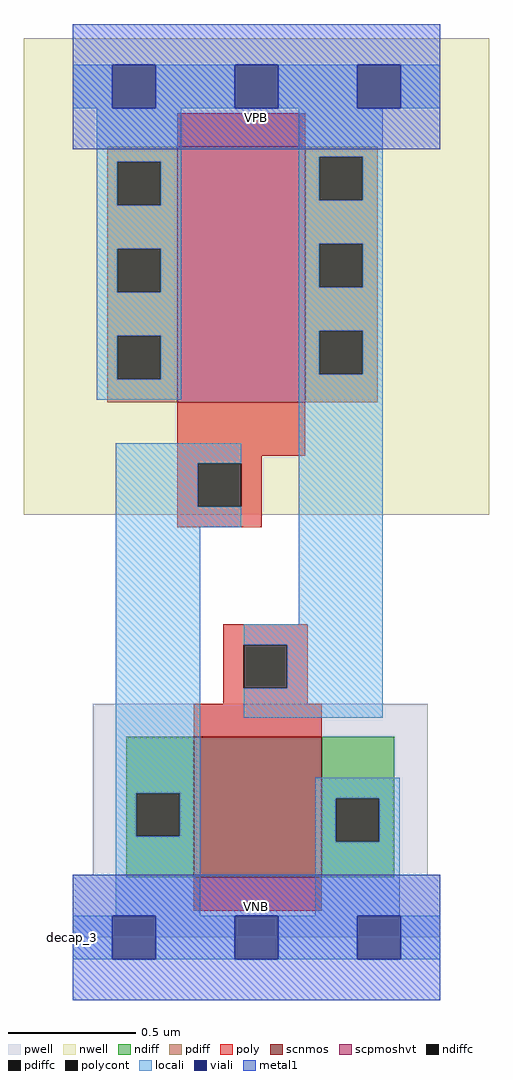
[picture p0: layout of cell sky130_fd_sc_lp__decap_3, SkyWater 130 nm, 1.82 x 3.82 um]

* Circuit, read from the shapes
.subckt sky130_fd_sc_lp__decap_3 VGND VNB VPB VPWR
XM1 VGND VPWR VGND VNB sky130_fd_pr__nfet_01v8 w=0.55 l=0.5
XM2 VPWR VGND VPWR VPB sky130_fd_pr__pfet_01v8_hvt w=1 l=0.5
.ends

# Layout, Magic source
magic
tech sky130A
magscale 1 2
<< nwell >>
rect -38 331 326 704
<< pwell >>
rect 16 49 278 183
rect 0 0 288 49
<< scnmos >>
rect 95 47 195 157
<< scpmoshvt >>
rect 82 419 182 619
<< ndiff >>
rect 42 113 95 157
rect 42 79 50 113
rect 84 79 95 113
rect 42 47 95 79
rect 195 109 252 157
rect 195 75 206 109
rect 240 75 252 109
rect 195 47 252 75
<< pdiff >>
rect 27 607 82 619
rect 27 573 35 607
rect 69 573 82 607
rect 27 539 82 573
rect 27 505 35 539
rect 69 505 82 539
rect 27 471 82 505
rect 27 437 35 471
rect 69 437 82 471
rect 27 419 82 437
rect 182 611 239 619
rect 182 577 193 611
rect 227 577 239 611
rect 182 543 239 577
rect 182 509 193 543
rect 227 509 239 543
rect 182 475 239 509
rect 182 441 193 475
rect 227 441 239 475
rect 182 419 239 441
<< ndiffc >>
rect 50 79 84 113
rect 206 75 240 109
<< pdiffc >>
rect 35 573 69 607
rect 35 505 69 539
rect 35 437 69 471
rect 193 577 227 611
rect 193 509 227 543
rect 193 441 227 475
<< poly >>
rect 82 619 182 645
rect 82 377 182 419
rect 82 371 148 377
rect 82 337 98 371
rect 132 337 148 371
rect 82 321 148 337
rect 118 229 184 245
rect 118 195 134 229
rect 168 195 184 229
rect 118 183 184 195
rect 95 157 195 183
rect 95 21 195 47
<< polycont >>
rect 98 337 132 371
rect 134 195 168 229
<< locali >>
rect 0 649 31 683
rect 65 649 127 683
rect 161 649 223 683
rect 257 649 288 683
rect 19 607 85 649
rect 19 573 35 607
rect 69 573 85 607
rect 19 539 85 573
rect 19 505 35 539
rect 69 505 85 539
rect 19 471 85 505
rect 19 437 35 471
rect 69 437 85 471
rect 19 421 85 437
rect 177 611 243 649
rect 177 577 193 611
rect 227 577 243 611
rect 177 543 243 577
rect 177 509 193 543
rect 227 509 243 543
rect 177 475 243 509
rect 177 441 193 475
rect 227 441 243 475
rect 34 371 132 387
rect 34 337 98 371
rect 34 321 132 337
rect 34 113 100 321
rect 177 245 243 441
rect 134 229 243 245
rect 168 195 243 229
rect 134 172 243 195
rect 34 79 50 113
rect 84 79 100 113
rect 34 17 100 79
rect 190 109 256 125
rect 190 75 206 109
rect 240 75 256 109
rect 190 17 256 75
rect 0 -17 31 17
rect 65 -17 127 17
rect 161 -17 223 17
rect 257 -17 288 17
<< viali >>
rect 31 649 65 683
rect 127 649 161 683
rect 223 649 257 683
rect 31 -17 65 17
rect 127 -17 161 17
rect 223 -17 257 17
<< metal1 >>
rect 0 683 288 715
rect 0 649 31 683
rect 65 649 127 683
rect 161 649 223 683
rect 257 649 288 683
rect 0 617 288 649
rect 0 17 288 49
rect 0 -17 31 17
rect 65 -17 127 17
rect 161 -17 223 17
rect 257 -17 288 17
rect 0 -49 288 -17
<< labels >>
flabel pwell s 0 0 288 49 0 FreeSans 200 0 0 0 VNB
port 2 nsew ground bidirectional
flabel nwell s 0 617 288 666 0 FreeSans 200 0 0 0 VPB
port 3 nsew power bidirectional
rlabel comment s 0 0 0 0 4 decap_3
flabel metal1 s 0 0 288 49 0 FreeSans 340 0 0 0 VGND
port 1 nsew ground bidirectional
flabel metal1 s 0 617 288 666 0 FreeSans 340 0 0 0 VPWR
port 4 nsew power bidirectional
<< properties >>
string LEFsite unit
string LEFclass CORE SPACER
string FIXED_BBOX 0 0 288 666
string GDS_FILE $PDKPATH/libs.ref/sky130_fd_sc_lp/gds/sky130_fd_sc_lp.gds
string LEFsymmetry X Y R90
string GDS_END 5964364
string GDS_START 5961486
<< end >>
